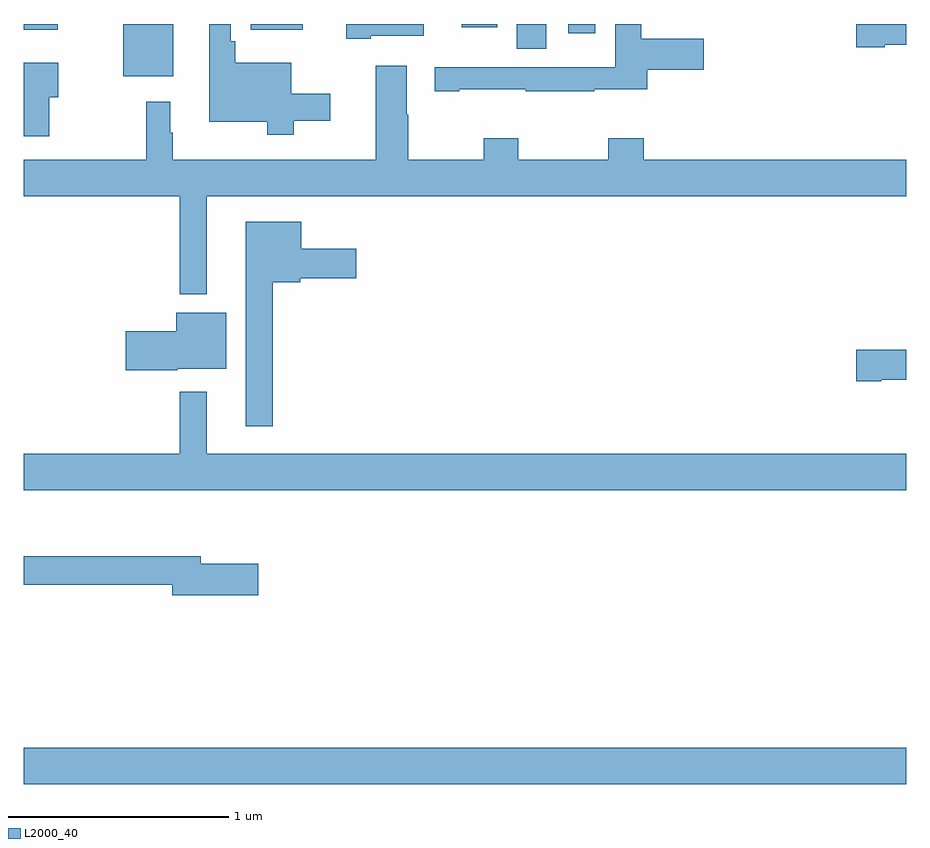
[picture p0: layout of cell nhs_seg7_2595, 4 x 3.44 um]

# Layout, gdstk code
import gdstk
lib = gdstk.Library(unit=1e-6, precision=1e-09)
def R(c, l, rs):  # rectangles x0, y0, x1, y1
    for r in rs: c.add(gdstk.rectangle(r[:2], r[2:], *l))
def P(c, l, *ps):  # polygons
    for p in ps: c.add(gdstk.Polygon(p, *l))
L2000_40 = (2000, 40)

nhs_seg7_2595 = lib.new_cell('nhs_seg7_2595')
R(nhs_seg7_2595, L2000_40, [(279,1060.556,283,1060.72), (279.452,1063.763,279.679,1064), (281.234,1063.888,281.368,1064), (281.468,1063.959,281.59,1064), (279,1063.973,279.154,1064), (280.028,1063.973,280.264,1064), (280.985,1063.986,281.146,1064)])
P(nhs_seg7_2595, L2000_40, [(280.225,1063.562),(280.39,1063.562),(280.39,1063.684),(280.213,1063.684),(280.213,1063.825),(279.959,1063.825),(279.959,1063.921),(279.939,1063.921),(279.939,1064),(279.842,1064),(279.842,1063.556),(280.104,1063.556),(280.104,1063.499),(280.225,1063.499)],
  [(280.573,1063.946),(280.813,1063.946),(280.813,1064),(280.461,1064),(280.461,1063.934),(280.573,1063.934)],
  [(280.975,1063.705),(281.275,1063.705),(281.275,1063.695),(281.585,1063.695),(281.585,1063.705),(281.825,1063.705),(281.825,1063.792),(282.082,1063.792),(282.082,1063.934),(281.798,1063.934),(281.798,1064),(281.682,1064),(281.682,1063.804),(281.472,1063.804),(281.472,1063.803),(281.138,1063.803),(281.138,1063.805),(280.863,1063.805),(280.863,1063.695),(280.975,1063.695)],
  [(282.903,1063.907),(283,1063.907),(283,1064),(282.774,1064),(282.774,1063.895),(282.903,1063.895)],
  [(279.115,1063.667),(279.157,1063.667),(279.157,1063.825),(279,1063.825),(279,1063.491),(279.115,1063.491)],
  [(279.829,1063.22),(283,1063.22),(283,1063.384),(281.81,1063.384),(281.81,1063.483),(281.65,1063.483),(281.65,1063.384),(281.241,1063.384),(281.241,1063.483),(281.086,1063.483),(281.086,1063.384),(280.743,1063.384),(280.743,1063.589),(280.735,1063.589),(280.735,1063.81),(280.595,1063.81),(280.595,1063.384),(279.676,1063.384),(279.676,1063.508),(279.664,1063.508),(279.664,1063.648),(279.555,1063.648),(279.555,1063.384),(279,1063.384),(279,1063.22),(279.708,1063.22),(279.708,1062.776),(279.829,1062.776)],
  [(280.129,1062.83),(280.254,1062.83),(280.254,1062.848),(280.507,1062.848),(280.507,1062.982),(280.258,1062.982),(280.258,1063.105),(280.007,1063.105),(280.007,1062.177),(280.129,1062.177)],
  [(279.696,1062.437),(279.919,1062.437),(279.919,1062.691),(279.692,1062.691),(279.692,1062.608),(279.462,1062.608),(279.462,1062.43),(279.696,1062.43)],
  [(282.886,1062.389),(283,1062.389),(283,1062.524),(282.774,1062.524),(282.774,1062.382),(282.886,1062.382)],
  [(283,1062.052),(279.829,1062.052),(279.829,1062.334),(279.708,1062.334),(279.708,1062.052),(279,1062.052),(279,1061.888),(283,1061.888)],
  [(280.063,1061.553),(279.802,1061.553),(279.802,1061.587),(279,1061.587),(279,1061.458),(279.674,1061.458),(279.674,1061.411),(280.063,1061.411)])

lib.write_gds('nhs_seg7_2595.gds')
